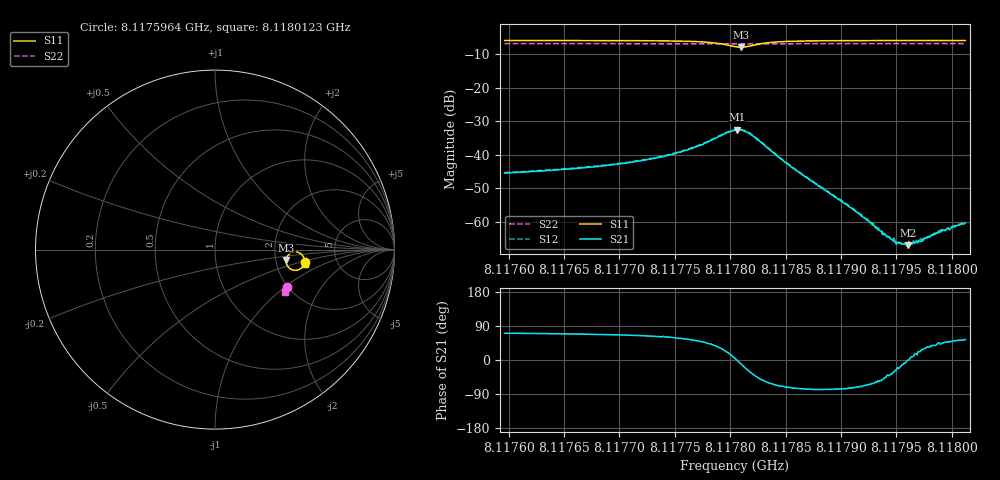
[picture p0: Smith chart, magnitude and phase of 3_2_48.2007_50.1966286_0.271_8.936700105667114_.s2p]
#  HZ  S  RI  R  50.00
! Rohde & Schwarz Vector Network Analyzer
! Rohde-Schwarz,ZNB20-2Port,1311601062101988,3.16
! Created: UTC 3/20/2024, 11:36:07 AM
! freq[Hz]  re:S11  im:S11  re:S21  im:S21  re:S12  im:S12  re:S22  im:S22
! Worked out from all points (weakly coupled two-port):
!   401 points, 8.1175964 GHz to 8.1180123 GHz, reference 50 ohm
!   highest |S21| = -32.55 dB at 8.1178064 GHz (marker M1); lowest = -66.9 dB at 8.1179603 GHz (marker M2)
!   lowest |S11| = -7.9 dB at 8.1178095 GHz (marker M3), VSWR 2.34, Z = 114 - j15.6 ohm
!   |S11| at or under -10 dB: nowhere
!   |S22| runs from -7.0 to -6.9 dB; largest |S21 - S12| = 0.0007
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8.1175964e9  0.5005 -0.0671  0.00178 0.00504  0.00187 0.0051  0.4016 -0.2085
8.11766606e9  0.4978 -0.077  0.00234 0.00593  0.00243 0.00601  0.3993 -0.2129
8.11770973e9  0.4943 -0.0855  0.00321 0.00697  0.0033 0.00707  0.3978 -0.2158
8.11773572e9  0.4899 -0.093  0.00432 0.00805  0.00443 0.00819  0.3967 -0.2177
8.11776691e9  0.4756 -0.107  0.00768 0.01  0.008 0.0102  0.395 -0.2201
8.11779083e9  0.4371 -0.1144  0.0161 0.00996  0.0165 0.0101  0.3924 -0.2213
8.11780434e9  0.3996 -0.0829  0.023 0.00174  0.0237 0.00175  0.3907 -0.22
8.11780642e9  0.3968 -0.0732  0.0236 -0.000426  0.0239 -0.000555  0.3905 -0.2198
8.11780954e9  0.3964 -0.0574  0.0231 -0.00388  0.0234 -0.00404  0.3906 -0.2193
8.1178189e9  0.4206 -0.0204  0.0165 -0.0111  0.0167 -0.0116  0.392 -0.2185
8.11783969e9  0.476 -0.0216  0.0045 -0.00957  0.00453 -0.00978  0.3941 -0.2204
8.117874e9  0.4959 -0.0467  0.000877 -0.00387  0.00086 -0.00402  0.3933 -0.224
8.11791351e9  0.4991 -0.0609  0.000449 -0.00134  0.000443 -0.00139  0.3921 -0.2268
8.11793951e9  0.4997 -0.0667  0.000443 -0.000465  0.000455 -0.000492  0.3914 -0.2288
8.11794367e9  0.4995 -0.0674  0.000443 -0.000389  0.000434 -0.000403  0.3912 -0.229
8.1179499e9  0.4994 -0.0687  0.000417 -0.000209  0.000449 -0.000268  0.3909 -0.2294
8.11795718e9  0.4995 -0.0699  0.000462 -6.66e-05  0.000478 -7.87e-05  0.3909 -0.2298
8.1179603e9  0.4994 -0.0703  0.000452 -5.35e-06  0.000473 2.11e-06  0.3907 -0.23
8.11797174e9  0.4994 -0.0721  0.000469 0.000193  0.000519 0.000216  0.3903 -0.2308
8.11798214e9  0.4993 -0.0737  0.000485 0.000391  0.000499 0.0004  0.39 -0.2315
8.11798837e9  0.4992 -0.0746  0.000489 0.000506  0.00053 0.000498  0.3897 -0.2318
8.11801229e9  0.499 -0.0778  0.000574 0.000787  0.000579 0.000763  0.3889 -0.2335
